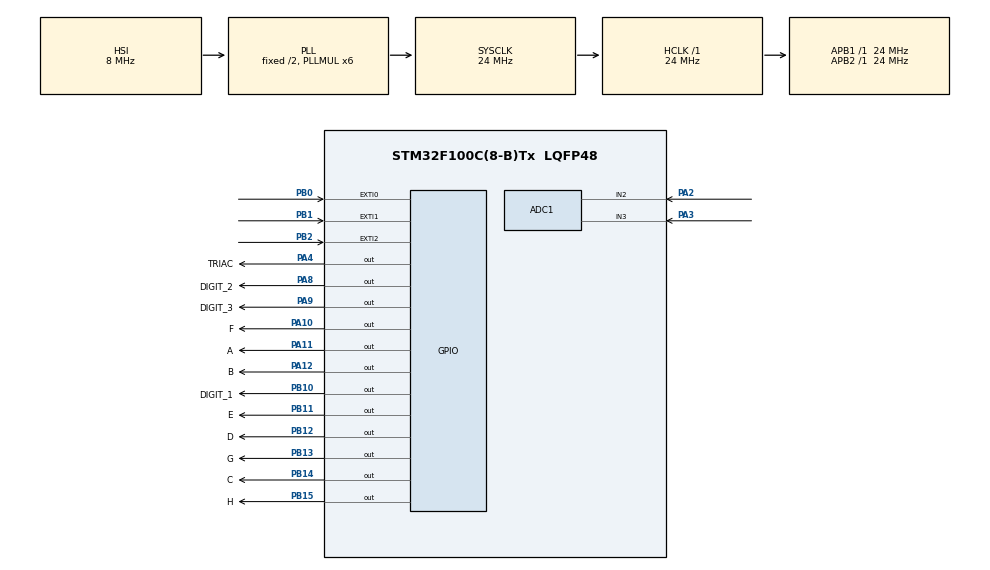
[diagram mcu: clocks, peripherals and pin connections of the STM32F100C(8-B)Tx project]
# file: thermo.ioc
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ADC1.Channel-6\#ChannelRegularConversion=ADC_CHANNEL_3
ADC1.Channel-7\#ChannelInjectedConversion=ADC_CHANNEL_2
ADC1.ContinuousConvMode=DISABLE
ADC1.DataAlign=ADC_DATAALIGN_RIGHT
ADC1.DiscontinuousConvMode=DISABLE
ADC1.EnableAnalogWatchDog=false
ADC1.EnableRegularConversion=ENABLE
ADC1.ExternalTrigConv=ADC_SOFTWARE_START
ADC1.ExternalTrigInjecConv=ADC_INJECTED_SOFTWARE_START
ADC1.InjNumberOfConversion=1
ADC1.InjectedConvMode=None
ADC1.InjectedOffset-7\#ChannelInjectedConversion=0
ADC1.NbrOfConversion=1
ADC1.NbrOfConversionFlag=1
ADC1.Rank-6\#ChannelRegularConversion=1
ADC1.Rank-7\#ChannelInjectedConversion=1
ADC1.SamplingTime-6\#ChannelRegularConversion=ADC_SAMPLETIME_1CYCLE_5
ADC1.SamplingTime-7\#ChannelInjectedConversion=ADC_SAMPLETIME_13CYCLES_5
ADC1.ScanConvMode=ADC_SCAN_DISABLE
ADC1.master=1
Mcu.Family=STM32F1
Mcu.Name=STM32F100C(8-B)Tx
Mcu.Package=LQFP48
NVIC.EXTI0_IRQn=true\:2\:0\:true\:false\:true\:true
NVIC.EXTI1_IRQn=true\:2\:0\:true\:false\:true\:true
NVIC.EXTI2_IRQn=true\:2\:0\:true\:false\:true\:true
NVIC.PriorityGroup=NVIC_PRIORITYGROUP_4
NVIC.TIM1_TRG_COM_TIM17_IRQn=true\:0\:0\:true\:false\:true\:true
NVIC.TIM1_UP_TIM16_IRQn=true\:1\:0\:true\:false\:true\:true
NVIC.TIM6_DAC_IRQn=true\:0\:0\:true\:false\:true\:true
NVIC.TIM7_IRQn=true\:0\:0\:true\:false\:true\:true
PA10.GPIO_Label=F
PA10.PinState=GPIO_PIN_SET
PA10.Signal=GPIO_Output
PA11.GPIO_Label=A
PA11.PinState=GPIO_PIN_SET
PA11.Signal=GPIO_Output
PA12.GPIO_Label=B
PA12.PinState=GPIO_PIN_SET
PA12.Signal=GPIO_Output
PA13.Mode=Serial_Wire
PA13.Signal=SYS_JTMS-SWDIO
PA14.Mode=Serial_Wire
PA14.Signal=SYS_JTCK-SWCLK
PA2.Signal=ADCx_IN2
PA3.Signal=ADCx_IN3
PA4.GPIO_Label=TRIAC
PA4.Signal=GPIO_Output
PA8.GPIO_Label=DIGIT_2
PA8.Signal=GPIO_Output
PA9.GPIO_Label=DIGIT_3
PA9.PinState=GPIO_PIN_RESET
PA9.Signal=GPIO_Output
PB0.GPIO_ModeDefaultEXTI=GPIO_MODE_IT_FALLING
PB0.GPIO_PuPd=GPIO_PULLUP
PB0.Signal=GPXTI0
PB1.GPIO_ModeDefaultEXTI=GPIO_MODE_IT_FALLING
PB1.GPIO_PuPd=GPIO_PULLUP
PB1.Signal=GPXTI1
PB10.GPIO_Label=DIGIT_1
PB10.Signal=GPIO_Output
PB11.GPIO_Label=E
PB11.PinState=GPIO_PIN_SET
PB11.Signal=GPIO_Output
PB12.GPIO_Label=D
PB12.PinState=GPIO_PIN_SET
PB12.Signal=GPIO_Output
PB13.GPIO_Label=G
PB13.PinState=GPIO_PIN_SET
PB13.Signal=GPIO_Output
PB14.GPIO_Label=C
PB14.PinState=GPIO_PIN_SET
PB14.Signal=GPIO_Output
PB15.GPIO_Label=H
PB15.PinState=GPIO_PIN_SET
PB15.Signal=GPIO_Output
PB2.GPIO_ModeDefaultEXTI=GPIO_MODE_IT_FALLING
PB2.GPIO_PuPd=GPIO_PULLUP
PB2.Signal=GPXTI2
ProjectManager.HeapSize=0x200
ProjectManager.StackSize=0x400
ProjectManager.TargetToolchain=SW4STM32
RCC.AHBFreq_Value=24000000
RCC.APB1Freq_Value=24000000
RCC.APB1TimFreq_Value=24000000
RCC.APB2Freq_Value=24000000
RCC.APB2TimFreq_Value=24000000
RCC.HCLKFreq_Value=24000000
RCC.PLLMUL=RCC_PLL_MUL6
RCC.SYSCLKFreq_VALUE=24000000
RCC.SYSCLKSource=RCC_SYSCLKSOURCE_PLLCLK
SH.ADCx_IN2.0=ADC1_IN2,IN2
SH.ADCx_IN3.0=ADC1_IN3,IN3
TIM16.Period=9999
TIM16.Prescaler=23999
TIM17.Period=92
TIM17.Prescaler=23
TIM6.Period=999
TIM6.Prescaler=99
TIM7.Period=999
TIM7.Prescaler=23999
VP_ADC1_TempSens_Input.Mode=IN-TempSens
VP_ADC1_Vref_Input.Mode=IN-Vrefint
VP_TIM16_VS_ClockSourceINT.Mode=Enable_Timer
VP_TIM17_VS_ClockSourceINT.Mode=Enable_Timer
VP_TIM6_VS_ClockSourceINT.Mode=Enable_Timer
VP_TIM7_VS_ClockSourceINT.Mode=Enable_Timer
board=thermo

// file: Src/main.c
/**
  ******************************************************************************
  * File Name          : main.c
  * Description        : Main program body
  ******************************************************************************
  ** This notice applies to any and all portions of this file
  * that are not between comment pairs USER CODE BEGIN and
  * USER CODE END. Other portions of this file, whether
  * inserted by the user or by software development tools
  * are owned by their respective copyright owners.
  *
  * COPYRIGHT(c) 2018 STMicroelectronics
  *
  * Redistribution and use in source and binary forms, with or without modification,
  * are permitted provided that the following conditions are met:
  *   1. Redistributions of source code must retain the above copyright notice,
  *      this list of conditions and the following disclaimer.
  *   2. Redistributions in binary form must reproduce the above copyright notice,
  *      this list of conditions and the following disclaimer in the documentation
  *      and/or other materials provided with the distribution.
  *   3. Neither the name of STMicroelectronics nor the names of its contributors
  *      may be used to endorse or promote products derived from this software
  *      without specific prior written permission.
  *
  * THIS SOFTWARE IS PROVIDED BY THE COPYRIGHT HOLDERS AND CONTRIBUTORS "AS IS"
  * AND ANY EXPRESS OR IMPLIED WARRANTIES, INCLUDING, BUT NOT LIMITED TO, THE
  * IMPLIED WARRANTIES OF MERCHANTABILITY AND FITNESS FOR A PARTICULAR PURPOSE ARE
  * DISCLAIMED. IN NO EVENT SHALL THE COPYRIGHT HOLDER OR CONTRIBUTORS BE LIABLE
  * FOR ANY DIRECT, INDIRECT, INCIDENTAL, SPECIAL, EXEMPLARY, OR CONSEQUENTIAL
  * DAMAGES (INCLUDING, BUT NOT LIMITED TO, PROCUREMENT OF SUBSTITUTE GOODS OR
  * SERVICES; LOSS OF USE, DATA, OR PROFITS; OR BUSINESS INTERRUPTION) HOWEVER
  * CAUSED AND ON ANY THEORY OF LIABILITY, WHETHER IN CONTRACT, STRICT LIABILITY,
  * OR TORT (INCLUDING NEGLIGENCE OR OTHERWISE) ARISING IN ANY WAY OUT OF THE USE
  * OF THIS SOFTWARE, EVEN IF ADVISED OF THE POSSIBILITY OF SUCH DAMAGE.
  *
  ******************************************************************************
  */

#include "main.h"
#include "stm32f1xx_hal.h"
#include "adc.h"
#include "tim.h"
#include "gpio.h"

/* USER CODE BEGIN Includes */
#include "led_segment.h"
/* USER CODE END Includes */

/* USER CODE BEGIN PV */
/* Private variables ---------------------------------------------------------*/
volatile uint8_t mode = 0; //display mode
volatile uint16_t i = 0; //temperature measured by ADC
volatile uint8_t p = 0; //power
volatile uint8_t t = 0; //preset temperature
volatile uint8_t h = 0; //temperature hysteresis

volatile uint8_t buf1 = 0, buf2 = 0, buf3 = 0;

double value = 0;

uint32_t dat = 0;
uint32_t Address = 0, PAGEError = 0;
__IO uint32_t data32 = 0;

/* USER CODE END PV */

void SystemClock_Config(void);

/* USER CODE BEGIN PFP */
/* Private function prototypes -----------------------------------------------*/

/* USER CODE END PFP */

int main(void)
{

  /* MCU Configuration----------------------------------------------------------*/

  /* Reset of all peripherals, Initializes the Flash interface and the Systick. */
  HAL_Init();

  /* Configure the system clock */
  SystemClock_Config();

  /* Initialize all configured peripherals */
  MX_GPIO_Init();
  MX_TIM7_Init();
  MX_ADC1_Init();
  MX_TIM6_Init();
  MX_TIM17_Init();
  MX_TIM16_Init();

  /* USER CODE BEGIN 2 */
  NVIC_DisableIRQ(TIM6_DAC_IRQn);

  HAL_ADCEx_InjectedStart(&hadc1);
  HAL_ADCEx_InjectedPollForConversion(&hadc1, 100);
  value = HAL_ADCEx_InjectedGetValue(&hadc1, 1);
  HAL_ADCEx_InjectedStop(&hadc1);
  i = value / 4095 * 331.5;

  __HAL_TIM_CLEAR_IT(&htim6, TIM_IT_UPDATE);
  __HAL_TIM_SET_COUNTER(&htim6, 0);
  HAL_TIM_Base_Start_IT(&htim6);

  __HAL_TIM_CLEAR_IT(&htim7, TIM_IT_UPDATE);
  __HAL_TIM_SET_COUNTER(&htim7, 0);
  HAL_TIM_Base_Start_IT(&htim7);

  __HAL_TIM_CLEAR_IT(&htim17, TIM_IT_UPDATE);
  __HAL_TIM_SET_COUNTER(&htim17, 0);
  HAL_TIM_Base_Start_IT(&htim17);

  Address = FLASH_USER_START_ADDR;
  while (Address < FLASH_USER_END_ADDR) {
	   dat = *(__IO uint32_t *)Address;
	   Address = Address + 4;
   }
   if(dat != 0xFFFFFFFF) {
	   h = dat;
	   dat >>= 8;
	   t = dat;
	   dat >>= 8;
	   p = dat;
   }
  /* USER CODE END 2 */

  /* Infinite loop */
  /* USER CODE BEGIN WHILE */
  while (1)
  {
	  NVIC_DisableIRQ(TIM6_DAC_IRQn);
	  if(mode == 0) {
		  buf1 = i/100;
		  buf2 = (i%100)/10;
		  buf3 = (i%100)%10;
	  }
	  if(mode == 1) {
		  buf1 = t/100;
		  buf2 = (t%100)/10;
		  buf3 = (t%100)%10;
	  }
	  if(mode == 2) {
		  buf1 = p/100;
		  buf2 = (p%100)/10;
		  buf3 = (p%100)%10;
	  }
	  if(mode == 3) {
		  buf1 = h/100;
		  buf2 = (h%100)/10;
		  buf3 = (h%100)%10;
	  }
	  NVIC_EnableIRQ(TIM6_DAC_IRQn);
  /* USER CODE END WHILE */

  }

}

/** System Clock Configuration
*/
void SystemClock_Config(void)
{

  RCC_OscInitTypeDef RCC_OscInitStruct;
  RCC_ClkInitTypeDef RCC_ClkInitStruct;
  RCC_PeriphCLKInitTypeDef PeriphClkInit;

    /**Initializes the CPU, AHB and APB busses clocks
    */
  RCC_OscInitStruct.OscillatorType = RCC_OSCILLATORTYPE_HSI;
  RCC_OscInitStruct.HSIState = RCC_HSI_ON;
  RCC_OscInitStruct.HSICalibrationValue = 16;
  RCC_OscInitStruct.PLL.PLLState = RCC_PLL_ON;
  RCC_OscInitStruct.PLL.PLLSource = RCC_PLLSOURCE_HSI_DIV2;
  RCC_OscInitStruct.PLL.PLLMUL = RCC_PLL_MUL6;
  if (HAL_RCC_OscConfig(&RCC_OscInitStruct) != HAL_OK)
  {
    _Error_Handler(__FILE__, __LINE__);
  }

    /**Initializes the CPU, AHB and APB busses clocks
    */
  RCC_ClkInitStruct.ClockType = RCC_CLOCKTYPE_HCLK|RCC_CLOCKTYPE_SYSCLK
                              |RCC_CLOCKTYPE_PCLK1|RCC_CLOCKTYPE_PCLK2;
  RCC_ClkInitStruct.SYSCLKSource = RCC_SYSCLKSOURCE_PLLCLK;
  RCC_ClkInitStruct.AHBCLKDivider = RCC_SYSCLK_DIV1;
  RCC_ClkInitStruct.APB1CLKDivider = RCC_HCLK_DIV1;
  RCC_ClkInitStruct.APB2CLKDivider = RCC_HCLK_DIV1;

  if (HAL_RCC_ClockConfig(&RCC_ClkInitStruct, FLASH_LATENCY_0) != HAL_OK)
  {
    _Error_Handler(__FILE__, __LINE__);
  }

  PeriphClkInit.PeriphClockSelection = RCC_PERIPHCLK_ADC;
  PeriphClkInit.AdcClockSelection = RCC_ADCPCLK2_DIV2;
  if (HAL_RCCEx_PeriphCLKConfig(&PeriphClkInit) != HAL_OK)
  {
    _Error_Handler(__FILE__, __LINE__);
  }

    /**Configure the Systick interrupt time
    */
  HAL_SYSTICK_Config(HAL_RCC_GetHCLKFreq()/1000);

    /**Configure the Systick
    */
  HAL_SYSTICK_CLKSourceConfig(SYSTICK_CLKSOURCE_HCLK);

  /* SysTick_IRQn interrupt configuration */
  HAL_NVIC_SetPriority(SysTick_IRQn, 0, 0);
}

void _Error_Handler(char * file, int line)
{
  while(1)
  {
  }
}

/************************ (C) COPYRIGHT STMicroelectronics *****END OF FILE****/
